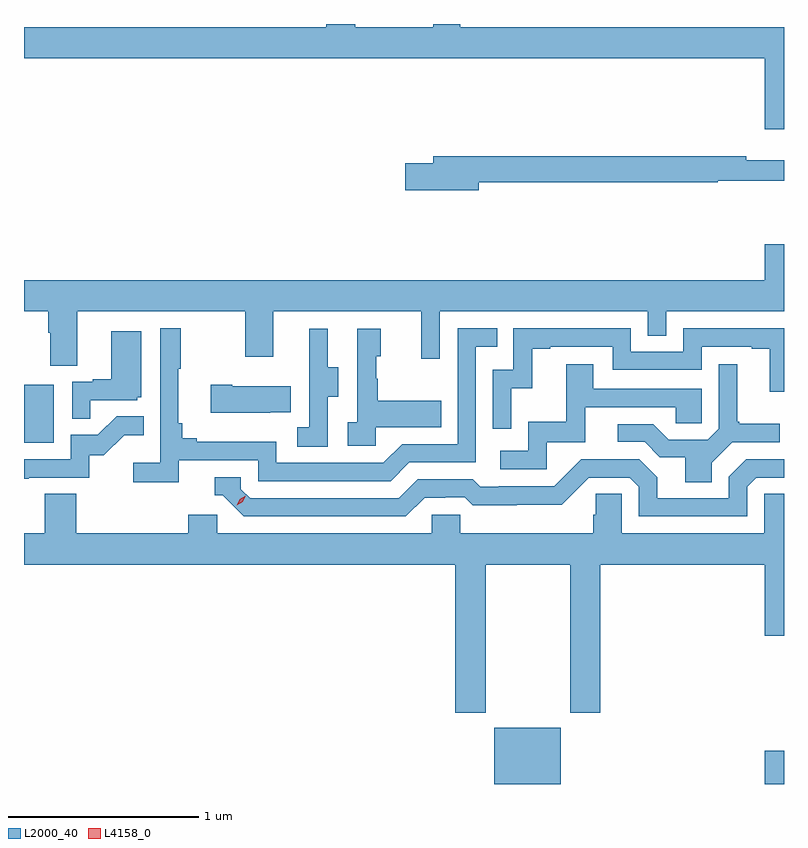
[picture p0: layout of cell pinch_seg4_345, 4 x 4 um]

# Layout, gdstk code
import gdstk
lib = gdstk.Library(unit=1e-6, precision=1e-09)
def R(c, l, rs):  # rectangles x0, y0, x1, y1
    for r in rs: c.add(gdstk.rectangle(r[:2], r[2:], *l))
def P(c, l, *ps):  # polygons
    for p in ps: c.add(gdstk.Polygon(p, *l))
L2000_40 = (2000, 40)
L4158_0 = (4158, 0)

pinch_seg4_345 = lib.new_cell('pinch_seg4_345')
R(pinch_seg4_345, L2000_40, [(1014.734,800.993,1015.084,801.289), (1016.156,800.993,1016.258,801.169), (1012.258,802.788,1012.414,803.095)])
P(pinch_seg4_345, L2000_40, [(1016.258,804.976),(1014.553,804.976),(1014.553,804.993),(1014.413,804.993),(1014.413,804.976),(1014.001,804.976),(1014.001,804.993),(1013.849,804.993),(1013.849,804.976),(1012.258,804.976),(1012.258,804.812),(1016.156,804.812),(1016.156,804.438),(1016.258,804.438)],
  [(1014.652,804.16),(1015.909,804.16),(1015.909,804.168),(1016.258,804.168),(1016.258,804.277),(1016.06,804.277),(1016.06,804.296),(1014.413,804.296),(1014.413,804.26),(1014.264,804.26),(1014.264,804.118),(1014.652,804.118)],
  [(1012.258,803.48),(1012.385,803.48),(1012.385,803.368),(1012.397,803.368),(1012.397,803.194),(1012.537,803.194),(1012.537,803.48),(1013.422,803.48),(1013.422,803.241),(1013.569,803.241),(1013.569,803.48),(1014.35,803.48),(1014.35,803.232),(1014.447,803.232),(1014.447,803.48),(1015.542,803.48),(1015.542,803.353),(1015.638,803.353),(1015.638,803.48),(1016.258,803.48),(1016.258,803.833),(1016.156,803.833),(1016.156,803.644),(1012.258,803.644)],
  [(1013.072,802.698),(1013.49,802.698),(1013.49,802.587),(1014.187,802.587),(1014.286,802.686),(1014.636,802.686),(1014.636,803.295),(1014.749,803.295),(1014.749,803.391),(1014.54,803.391),(1014.54,802.782),(1014.249,802.782),(1014.15,802.683),(1013.586,802.683),(1013.586,802.795),(1013.167,802.795),(1013.167,802.814),(1013.09,802.814),(1013.09,802.891),(1013.071,802.891),(1013.071,803.179),(1013.083,803.179),(1013.083,803.392),(1012.974,803.392),(1012.974,802.684),(1012.833,802.684),(1012.833,802.582),(1013.072,802.582)],
  [(1014.822,803.075),(1014.932,803.075),(1014.932,803.283),(1015.027,803.283),(1015.027,803.295),(1015.356,803.295),(1015.356,803.172),(1015.824,803.172),(1015.824,803.295),(1016.087,803.295),(1016.087,803.283),(1016.183,803.283),(1016.183,803.057),(1016.258,803.057),(1016.258,803.391),(1015.728,803.391),(1015.728,803.268),(1015.452,803.268),(1015.452,803.391),(1014.834,803.391),(1014.834,803.172),(1014.726,803.172),(1014.726,802.863),(1014.822,802.863)],
  [(1013.856,803.032),(1013.911,803.032),(1013.911,803.187),(1013.857,803.187),(1013.857,803.389),(1013.759,803.389),(1013.759,803.175),(1013.76,803.175),(1013.76,802.871),(1013.697,802.871),(1013.697,802.768),(1013.856,802.768)],
  [(1014.108,802.871),(1014.455,802.871),(1014.455,803.011),(1014.121,803.011),(1014.121,803.126),(1014.111,803.126),(1014.111,803.244),(1014.136,803.244),(1014.136,803.389),(1014.012,803.389),(1014.012,802.898),(1013.961,802.898),(1013.961,802.773),(1014.108,802.773)],
  [(1012.607,803.013),(1012.854,803.013),(1012.854,803.028),(1012.876,803.028),(1012.876,803.377),(1012.718,803.377),(1012.718,803.122),(1012.619,803.122),(1012.619,803.109),(1012.512,803.109),(1012.512,802.915),(1012.607,802.915)],
  [(1015.008,802.791),(1015.213,802.791),(1015.213,802.977),(1015.687,802.977),(1015.687,802.893),(1015.824,802.893),(1015.824,803.073),(1015.255,803.073),(1015.255,803.203),(1015.111,803.203),(1015.111,802.9),(1014.912,802.9),(1014.912,802.746),(1014.765,802.746),(1014.765,802.65),(1015.008,802.65)],
  [(1015.879,802.684),(1015.986,802.791),(1016.236,802.791),(1016.236,802.888),(1016.023,802.888),(1016.023,802.9),(1016.011,802.9),(1016.011,803.203),(1015.914,803.203),(1015.914,802.863),(1015.857,802.806),(1015.651,802.806),(1015.57,802.887),(1015.383,802.887),(1015.383,802.794),(1015.524,802.794),(1015.604,802.714),(1015.739,802.714),(1015.739,802.582),(1015.879,802.582)],
  [(1013.555,802.949),(1013.663,802.949),(1013.663,803.086),(1013.353,803.086),(1013.353,803.094),(1013.241,803.094),(1013.241,802.946),(1013.555,802.946)],
  [(1012.283,802.605),(1012.602,802.605),(1012.602,802.722),(1012.678,802.722),(1012.785,802.829),(1012.889,802.829),(1012.889,802.928),(1012.745,802.928),(1012.647,802.83),(1012.503,802.83),(1012.503,802.701),(1012.258,802.701),(1012.258,802.6),(1012.283,802.6)],
  [(1014.367,802.5),(1014.474,802.5),(1014.474,802.503),(1014.577,802.503),(1014.619,802.461),(1014.852,802.461),(1014.852,802.463),(1015.088,802.463),(1015.23,802.605),(1015.446,802.605),(1015.494,802.557),(1015.494,802.401),(1016.064,802.401),(1016.064,802.557),(1016.112,802.605),(1016.258,802.605),(1016.258,802.701),(1016.058,802.701),(1015.968,802.611),(1015.968,802.497),(1015.591,802.497),(1015.591,802.607),(1015.497,802.701),(1015.191,802.701),(1015.05,802.56),(1014.757,802.56),(1014.757,802.557),(1014.658,802.557),(1014.619,802.596),(1014.33,802.596),(1014.231,802.497),(1013.448,802.497),(1013.4,802.545),(1013.4,802.608),(1013.261,802.608),(1013.261,802.512),(1013.304,802.512),(1013.415,802.401),(1014.268,802.401)],
  [(1014.687,802.148),(1015.132,802.148),(1015.132,801.369),(1015.292,801.369),(1015.292,802.148),(1016.156,802.148),(1016.156,801.774),(1016.258,801.774),(1016.258,802.52),(1016.154,802.52),(1016.154,802.312),(1015.404,802.312),(1015.404,802.52),(1015.267,802.52),(1015.267,802.41),(1015.253,802.41),(1015.253,802.312),(1014.555,802.312),(1014.555,802.41),(1014.405,802.41),(1014.405,802.312),(1013.274,802.312),(1013.274,802.41),(1013.123,802.41),(1013.123,802.312),(1012.532,802.312),(1012.532,802.52),(1012.367,802.52),(1012.367,802.312),(1012.258,802.312),(1012.258,802.148),(1014.527,802.148),(1014.527,801.369),(1014.687,801.369)])
P(pinch_seg4_345, L4158_0, [(1013.377,802.459),(1013.377,802.459),(1013.393,802.492),(1013.424,802.511),(1013.424,802.511),(1013.424,802.511),(1013.408,802.478),(1013.377,802.459)])

lib.write_gds('pinch_seg4_345.gds')
